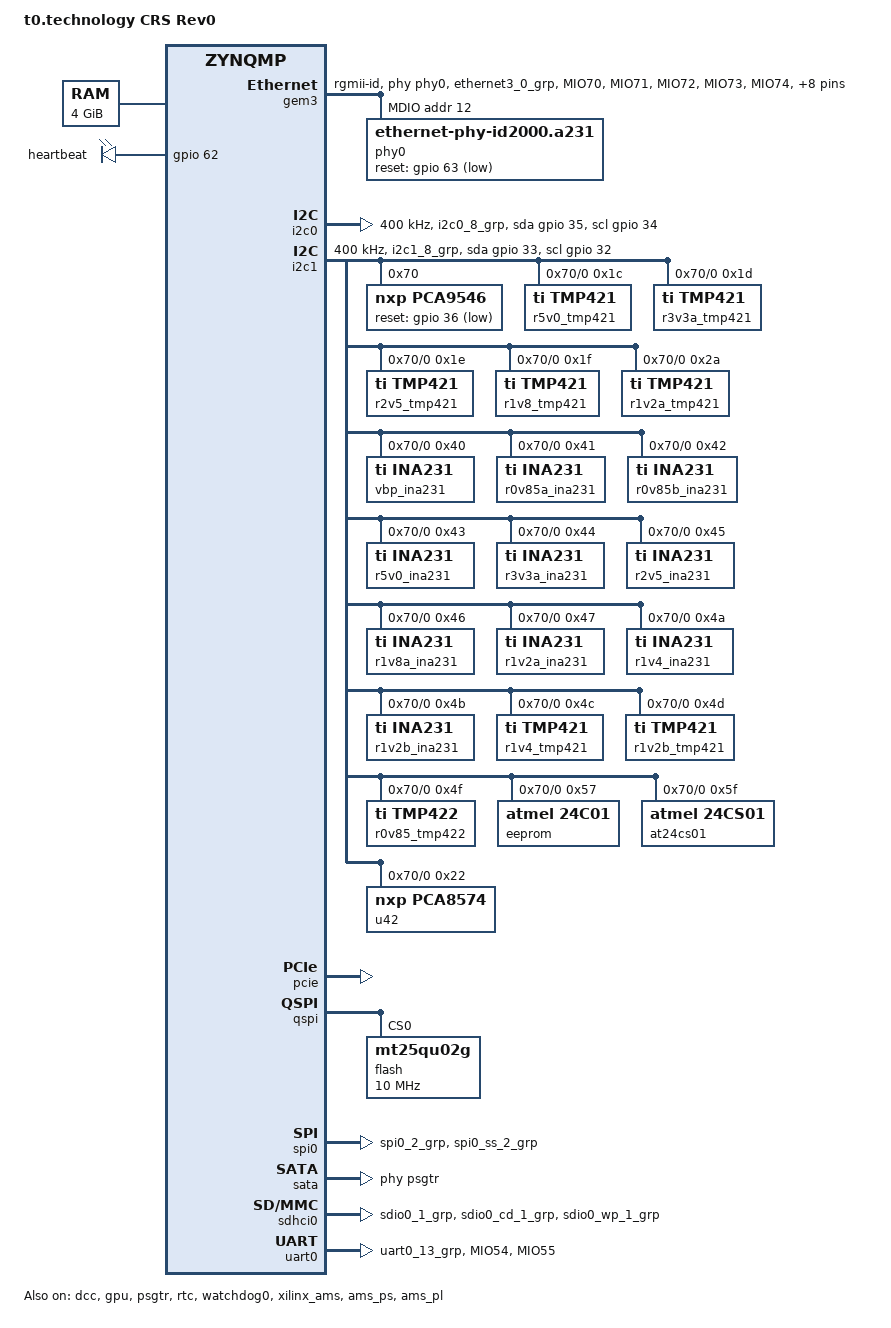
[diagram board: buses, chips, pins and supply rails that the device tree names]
// SPDX-License-Identifier: GPL-2.0+
/*
 * dts file for t0.technology CRS rev0
 *
 * (C) Copyright 2022 t0.technology
 *
 * Graeme Smecher <gsmecher@t0.technology>
 */

/dts-v1/;

#ifdef _CONFIG_PREFIX
# define UBOOT
#endif

#ifdef UBOOT
#include "zynqmp.dtsi"
#include "zynqmp-clk-ccf.dtsi"
#else
#include "xilinx/zynqmp.dtsi"
#include "xilinx/zynqmp-clk-ccf.dtsi"
#endif

#include <dt-bindings/input/input.h>
#include <dt-bindings/gpio/gpio.h>
#include <dt-bindings/pinctrl/pinctrl-zynqmp.h>
#include <dt-bindings/phy/phy.h>

/ {
	model = "t0.technology CRS Rev0";
	compatible = "t0,zynqmp-crs-rev0", "t0,zynqmp-crs", "xlnx,zynqmp";

	aliases {
		ethernet0 = &gem3;
		i2c0 = &i2c0;
		i2c1 = &i2c1;
		mmc0 = &sdhci0;
		nvmem0 = &eeprom; /* this is how u-boot picks up the FRU */
		rtc0 = &rtc;
		serial0 = &uart0;
		spi0 = &qspi;
		spi1 = &spi0;
	};

	chosen {
		bootargs = "earlycon";
		stdout-path = "serial0:115200n8";
	};

	memory@0 {
		device_type = "memory";
		reg = <0x0 0x0 0x0 0x80000000>, <0x8 0x00000000 0x0 0x80000000>; /* FIXME probably incorrect */
	};

	leds {
		compatible = "gpio-leds";
		heartbeat-led {
			label = "heartbeat";
			gpios = <&gpio 62 GPIO_ACTIVE_HIGH>;
			linux,default-trigger = "heartbeat";
		};
	};
};

&dcc {
	status = "okay";
};

&fpd_dma_chan1 {
	status = "okay";
};

&fpd_dma_chan2 {
	status = "okay";
};

&fpd_dma_chan3 {
	status = "okay";
};

&fpd_dma_chan4 {
	status = "okay";
};

&fpd_dma_chan5 {
	status = "okay";
};

&fpd_dma_chan6 {
	status = "okay";
};

&fpd_dma_chan7 {
	status = "okay";
};

&fpd_dma_chan8 {
	status = "okay";
};

&gem3 {
	status = "okay";
	phy-handle = <&phy0>;
	phy-mode = "rgmii-id";
	pinctrl-names = "default";
	pinctrl-0 = <&pinctrl_gem3_default>;
	mdio: mdio {
		#address-cells = <1>;
		#size-cells = <0>;
		phy0: ethernet-phy@c {
			#phy-cells = <1>;
			compatible = "ethernet-phy-id2000.a231";
			reg = <0xc>;
			ti,rx-internal-delay = <0x8>;
			ti,tx-internal-delay = <0xa>;
			ti,fifo-depth = <0x1>;
			ti,dp83867-rxctrl-strap-quirk;
			reset-gpios = <&gpio 63 GPIO_ACTIVE_LOW>;
			reset-assert-us = <100>;
			reset-deassert-us = <280>;
		};
	};
};

&gpio {
	status = "okay";
	pinctrl-names = "default";
	pinctrl-0 = <&pinctrl_gpio_default>;
};

&gpu {
	status = "okay";
};

&i2c0 {
	status = "okay";
	clock-frequency = <400000>;
	pinctrl-names = "default", "gpio";
	pinctrl-0 = <&pinctrl_i2c0_default>;
	pinctrl-1 = <&pinctrl_i2c0_gpio>;
	scl-gpios = <&gpio 34 GPIO_ACTIVE_HIGH>;
	sda-gpios = <&gpio 35 GPIO_ACTIVE_HIGH>;
};

&i2c1 {
	status = "okay";
	clock-frequency = <400000>;
	pinctrl-names = "default", "gpio";
	pinctrl-0 = <&pinctrl_i2c1_default>;
	pinctrl-1 = <&pinctrl_i2c1_gpio>;
	scl-gpios = <&gpio 32 GPIO_ACTIVE_HIGH>;
	sda-gpios = <&gpio 33 GPIO_ACTIVE_HIGH>;
};

&pinctrl0 {
	status = "okay";
	pinctrl_i2c0_default: i2c0-default {
		mux {
			groups = "i2c0_8_grp";
			function = "i2c0";
		};

		conf {
			groups = "i2c0_8_grp";
			bias-pull-up;
			slew-rate = <SLEW_RATE_SLOW>;
			power-source = <IO_STANDARD_LVCMOS33>;
		};
	};

	pinctrl_i2c0_gpio: i2c0-gpio {
		mux {
			groups = "gpio0_34_grp", "gpio0_35_grp";
			function = "gpio0";
		};

		conf {
			groups = "gpio0_34_grp", "gpio0_35_grp";
			slew-rate = <SLEW_RATE_SLOW>;
			power-source = <IO_STANDARD_LVCMOS33>;
		};
	};

	pinctrl_i2c1_default: i2c1-default {
		mux {
			groups = "i2c1_8_grp";
			function = "i2c1";
		};

		conf {
			groups = "i2c1_8_grp";
			bias-pull-up;
			slew-rate = <SLEW_RATE_SLOW>;
			power-source = <IO_STANDARD_LVCMOS33>;
		};
	};

	pinctrl_i2c1_gpio: i2c1-gpio {
		mux {
			groups = "gpio0_32_grp", "gpio0_33_grp";
			function = "gpio0";
		};

		conf {
			groups = "gpio0_32_grp", "gpio0_33_grp";
			slew-rate = <SLEW_RATE_SLOW>;
			power-source = <IO_STANDARD_LVCMOS33>;
		};
	};

	pinctrl_uart0_default: uart0-default {
		mux {
			groups = "uart0_13_grp";
			function = "uart0";
		};

		conf {
			groups = "uart0_13_grp";
			slew-rate = <SLEW_RATE_SLOW>;
			power-source = <IO_STANDARD_LVCMOS33>;
		};

		conf-rx {
			pins = "MIO54";
			bias-high-impedance;
		};

		conf-tx {
			pins = "MIO55";
			bias-disable;
		};
	};

	pinctrl_spi0_default: spi0-default {
		mux {
			groups = "spi0_2_grp";
			function = "spi0";
		};

		conf {
			groups = "spi0_2_grp";
			bias-disable;
			slew-rate = <SLEW_RATE_SLOW>;
			power-source = <IO_STANDARD_LVCMOS18>;
		};

		mux-cs {
			groups = "spi0_ss_2_grp";
			function = "spi0_ss";
		};

		conf-cs {
			groups = "spi0_ss_2_grp";
			bias-disable;
		};
	};

	pinctrl_gem3_default: gem3-default {
		mux {
			function = "ethernet3";
			groups = "ethernet3_0_grp";
		};

		conf {
			groups = "ethernet3_0_grp";
			slew-rate = <SLEW_RATE_SLOW>;
			power-source = <IO_STANDARD_LVCMOS33>;
		};

		conf-rx {
			pins = "MIO70", "MIO71", "MIO72", "MIO73", "MIO74", "MIO75";
			bias-high-impedance;
			low-power-disable;
		};

		conf-tx {
			pins = "MIO64", "MIO65", "MIO66", "MIO67", "MIO68", "MIO69";
			bias-disable;
			low-power-enable;
		};

		mux-mdio {
			function = "mdio3";
			groups = "mdio3_0_grp";
		};

		conf-mdio {
			groups = "mdio3_0_grp";
			slew-rate = <SLEW_RATE_SLOW>;
			power-source = <IO_STANDARD_LVCMOS33>;
			bias-disable;
		};
	};

	pinctrl_sdhci0_default: sdhci0-default {
		mux {
			groups = "sdio0_1_grp";
			function = "sdio0";
		};

		conf {
			groups = "sdio0_1_grp";
			slew-rate = <SLEW_RATE_SLOW>;
			power-source = <IO_STANDARD_LVCMOS33>;
			bias-disable;
		};

		mux-cd {
			groups = "sdio0_cd_1_grp";
			function = "sdio0_cd";
		};

		conf-cd {
			groups = "sdio0_cd_1_grp";
			bias-high-impedance;
			bias-pull-up;
			slew-rate = <SLEW_RATE_SLOW>;
			power-source = <IO_STANDARD_LVCMOS33>;
		};

		mux-wp {
			groups = "sdio0_wp_1_grp";
			function = "sdio0_wp";
		};

		conf-wp {
			groups = "sdio0_wp_1_grp";
			bias-high-impedance;
			bias-pull-up;
			slew-rate = <SLEW_RATE_SLOW>;
			power-source = <IO_STANDARD_LVCMOS33>;
		};
	};

	pinctrl_gpio_default: gpio-default {
	};
};

&pcie {
	status = "okay";
};

&psgtr {
	status = "okay";
	/* pcie, sata, usb3, dp */
	//clocks = <&si5341 0 5>, <&si5341 0 3>, <&si5341 0 2>, <&si5341 0 0>;
	clock-names = "ref0", "ref1", "ref2", "ref3";
};

&qspi {
	status = "okay";
	/*is-dual = <1>;
	num-cs = <2>;*/
	flash@0 {
		/* u-boot has no vendor prefix; Linux uses "st" */
		compatible = "mt25qu02g", "jedec,spi-nor";
		#address-cells = <1>;
		#size-cells = <1>;
		reg = <0x0>;
		spi-tx-bus-width = <4>;
		spi-rx-bus-width = <4>;
		spi-max-frequency = <10000000>; /* 10 MHz */
		broken-flash-reset;
	};
};

/* HMC7044 hosted at SPI0 on rev0, but SPI1 on rev1. */
spi_hmc7044: &spi0 {
	status = "okay";
	num-cs = <1>;
	pinctrl-names = "default";
	pinctrl-0 = <&pinctrl_spi0_default>;
};

&i2c1 {
	status = "okay";
	clock-frequency = <400000>;

	pca9546@70 {
		compatible = "nxp,pca9546";
		reg = <0x70>;
		#address-cells = <1>;
		#size-cells = <0>;
		reset-gpios = <&gpio 36 GPIO_ACTIVE_LOW>;

		i2c@0 {
			reg = <0>;
			#address-cells = <1>;
			#size-cells = <0>;

			r5v0_tmp421@1c	{ compatible = "ti,tmp421"; reg = <0x1c>; channel@0 { reg = <0x0>; label = "r5v0"; }; };
			r3v3a_tmp421@1d	{ compatible = "ti,tmp421"; reg = <0x1d>; channel@0 { reg = <0x0>; label = "r3v3a"; }; };
			r2v5_tmp421@1e	{ compatible = "ti,tmp421"; reg = <0x1e>; channel@0 { reg = <0x0>; label = "r2v5"; }; };
			r1v8_tmp421@1f	{ compatible = "ti,tmp421"; reg = <0x1f>; channel@0 { reg = <0x0>; label = "r1v8"; }; };

			r1v2a_tmp421@2a	{ compatible = "ti,tmp421"; reg = <0x2a>; channel@0 { reg = <0x0>; label = "r1v2a"; }; };

			vbp_ina231@40	{ compatible = "ti,ina231"; reg = <0x40>; shunt-resistor = <3900>; }; /* calibrated using SN006 */
			r0v85a_ina231@41 { compatible = "ti,ina231"; reg = <0x41>; shunt-resistor = <20000>; };
			r0v85b_ina231@42 { compatible = "ti,ina231"; reg = <0x42>; shunt-resistor = <20000>; };
			r5v0_ina231@43	{ compatible = "ti,ina231"; reg = <0x43>; shunt-resistor = <20000>; };
			r3v3a_ina231@44	{ compatible = "ti,ina231"; reg = <0x44>; shunt-resistor = <20000>; };
			r2v5_ina231@45	{ compatible = "ti,ina231"; reg = <0x45>; shunt-resistor = <20000>; };
			r1v8a_ina231@46	{ compatible = "ti,ina231"; reg = <0x46>; shunt-resistor = <20000>; };
			r1v2a_ina231@47	{ compatible = "ti,ina231"; reg = <0x47>; shunt-resistor = <20000>; };

			r1v4_ina231@4a	{ compatible = "ti,ina231"; reg = <0x4a>; shunt-resistor = <20000>; };
			r1v2b_ina231@4b	{ compatible = "ti,ina231"; reg = <0x4b>; shunt-resistor = <20000>; };
			r1v4_tmp421@4c	{ compatible = "ti,tmp421"; reg = <0x4c>; channel@0 { reg = <0x0>; label = "r1v4"; }; };
			r1v2b_tmp421@4d	{ compatible = "ti,tmp421"; reg = <0x4d>; channel@0 { reg = <0x0>; label = "r1v2b"; }; };

			r0v85_tmp422@4f	{
				compatible = "ti,tmp422";
				reg = <0x4f>;
				channel@0 { reg = <0x0>; label = "r0v85a"; };
				channel@1 { reg = <0x1>; label = "r0v85b"; };
			};

			/* Serial + EEPROM */
			eeprom: at24c01@57 { compatible = "atmel,24c01"; reg = <0x57>; };
			at24cs01@5f { compatible = "atmel,24cs01"; reg = <0x5f>; };

			/* Rev1 only - PS-attached 7-segment LED */
			u42: pca8574@22 {
				compatible = "nxp,pca8574";
				reg = <0x22>;
				gpio-controller;
				#gpio-cells = <1>;
				gpio-line-names = "LED7_G", "LED7_E", "LED7_F", "LED7_D", "LED7_C", "LED7_A", "LED7_DP", "LED7_B";
			};

		};
	};
};

&rtc {
	status = "okay";
};

&sata {
	status = "okay";
	/* SATA OOB timing settings */
	ceva,p0-cominit-params = /bits/ 8 <0x18 0x40 0x18 0x28>;
	ceva,p0-comwake-params = /bits/ 8 <0x06 0x14 0x08 0x0E>;
	ceva,p0-burst-params = /bits/ 8 <0x13 0x08 0x4A 0x06>;
	ceva,p0-retry-params = /bits/ 16 <0x96A4 0x3FFC>;
	ceva,p1-cominit-params = /bits/ 8 <0x18 0x40 0x18 0x28>;
	ceva,p1-comwake-params = /bits/ 8 <0x06 0x14 0x08 0x0E>;
	ceva,p1-burst-params = /bits/ 8 <0x13 0x08 0x4A 0x06>;
	ceva,p1-retry-params = /bits/ 16 <0x96A4 0x3FFC>;
	phy-names = "sata-phy";
	phys = <&psgtr 3 PHY_TYPE_SATA 1 1>;
};

/* SD1 with level shifter */
&sdhci0 {
	status = "okay";
	/*
	 * 1.0 revision has level shifter and this property should be
	 * removed for supporting UHS mode
	 */
	no-1-8-v;
	disable-wp;
	pinctrl-names = "default";
	pinctrl-0 = <&pinctrl_sdhci0_default>;
	xlnx,mio-bank = <1>;
};

&uart0 {
	status = "okay";
	pinctrl-names = "default";
	pinctrl-0 = <&pinctrl_uart0_default>;
};

&watchdog0 {
	status = "okay";
};

&xilinx_ams {
	status = "okay";
};

&ams_ps {
	status = "okay";
};

&ams_pl {
	status = "okay";
};

&zynqmp_dpdma {
	status = "okay";
};
